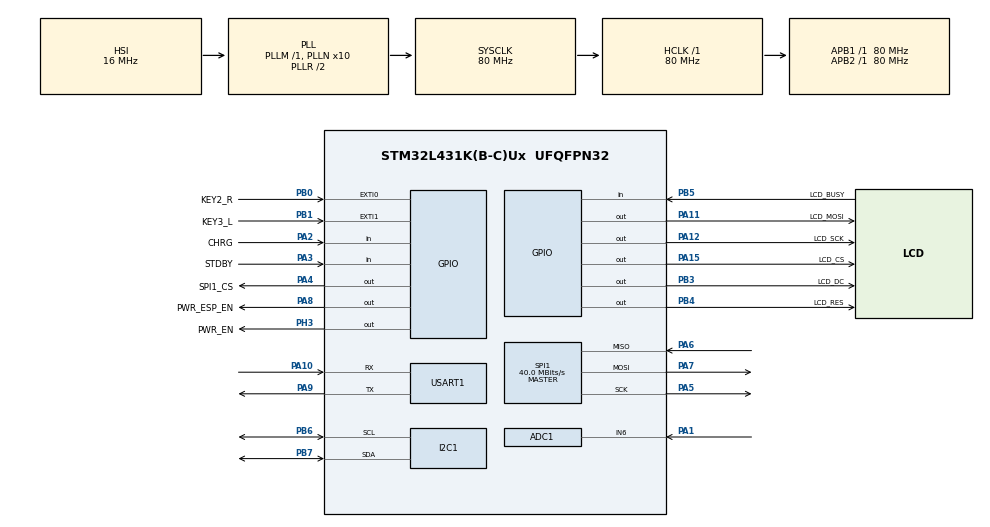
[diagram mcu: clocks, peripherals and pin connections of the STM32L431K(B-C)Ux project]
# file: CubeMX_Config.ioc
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ADC1.Channel-0\#ChannelRegularConversion=ADC_CHANNEL_6
ADC1.NbrOfConversionFlag=1
ADC1.OffsetNumber-0\#ChannelRegularConversion=ADC_OFFSET_NONE
ADC1.Rank-0\#ChannelRegularConversion=1
ADC1.SamplingTime-0\#ChannelRegularConversion=ADC_SAMPLETIME_2CYCLES_5
ADC1.master=1
I2C1.Timing=0x10909CEC
Mcu.Family=STM32L4
Mcu.Name=STM32L431K(B-C)Ux
Mcu.Package=UFQFPN32
NVIC.PriorityGroup=NVIC_PRIORITYGROUP_4
NVIC.RTC_WKUP_IRQn=true\:0\:0\:false\:false\:true\:true\:true\:true
PA0.Mode=SYS_WakeUp0
PA0.Signal=SYS_WKUP1
PA1.Signal=ADCx_IN6
PA10.Mode=Asynchronous
PA10.Signal=USART1_RX
PA11.GPIO_Label=LCD_MOSI
PA11.Signal=GPIO_Output
PA12.GPIO_Label=LCD_SCK
PA12.Signal=GPIO_Output
PA13\ (JTMS-SWDIO).Mode=Serial_Wire
PA13\ (JTMS-SWDIO).Signal=SYS_JTMS-SWDIO
PA14\ (JTCK-SWCLK).Mode=Serial_Wire
PA14\ (JTCK-SWCLK).Signal=SYS_JTCK-SWCLK
PA15\ (JTDI).GPIO_Label=LCD_CS
PA15\ (JTDI).Signal=GPIO_Output
PA2.GPIO_Label=CHRG
PA2.Signal=GPIO_Input
PA3.GPIO_Label=STDBY
PA3.Signal=GPIO_Input
PA4.GPIO_Label=SPI1_CS
PA4.Signal=GPIO_Output
PA5.Mode=Full_Duplex_Master
PA5.Signal=SPI1_SCK
PA6.Mode=Full_Duplex_Master
PA6.Signal=SPI1_MISO
PA7.Mode=Full_Duplex_Master
PA7.Signal=SPI1_MOSI
PA8.GPIO_Label=PWR_ESP_EN
PA8.Signal=GPIO_Output
PA9.Mode=Asynchronous
PA9.Signal=USART1_TX
PB0.GPIO_Label=KEY2_R
PB0.Signal=GPXTI0
PB1.GPIO_Label=KEY3_L
PB1.Signal=GPXTI1
PB3\ (JTDO-TRACESWO).GPIO_Label=LCD_DC
PB3\ (JTDO-TRACESWO).Signal=GPIO_Output
PB4\ (NJTRST).GPIO_Label=LCD_RES
PB4\ (NJTRST).Signal=GPIO_Output
PB5.GPIO_Label=LCD_BUSY
PB5.Signal=GPIO_Input
PB6.Mode=I2C
PB6.Signal=I2C1_SCL
PB7.Mode=I2C
PB7.Signal=I2C1_SDA
PC14-OSC32_IN\ (PC14).Mode=LSE-External-Oscillator
PC14-OSC32_IN\ (PC14).Signal=RCC_OSC32_IN
PC15-OSC32_OUT\ (PC15).Mode=LSE-External-Oscillator
PC15-OSC32_OUT\ (PC15).Signal=RCC_OSC32_OUT
PH3-BOOT0.GPIO_Label=PWR_EN
PH3-BOOT0.Signal=GPIO_Output
ProjectManager.HeapSize=0x1000
ProjectManager.StackSize=0x1000
ProjectManager.TargetToolchain=MDK-ARM V5.32
RCC.ADCFreq_Value=64000000
RCC.AHBFreq_Value=80000000
RCC.APB1Freq_Value=80000000
RCC.APB1TimFreq_Value=80000000
RCC.APB2Freq_Value=80000000
RCC.APB2TimFreq_Value=80000000
RCC.CortexFreq_Value=80000000
RCC.HCLKFreq_Value=80000000
RCC.HSE_VALUE=8000000
RCC.HSI48_VALUE=48000000
RCC.HSI_VALUE=16000000
RCC.MSI_VALUE=4000000
RCC.PLLN=10
RCC.PLLSourceVirtual=RCC_PLLSOURCE_HSI
RCC.RTCClockSelection=RCC_RTCCLKSOURCE_LSE
RCC.SYSCLKFreq_VALUE=80000000
RCC.SYSCLKSource=RCC_SYSCLKSOURCE_PLLCLK
RCC.VCOOutputFreq_Value=160000000
RTC.WakeUpClock=RTC_WAKEUPCLOCK_RTCCLK_DIV16
RTC.WakeUpCounter=0
SH.ADCx_IN6.0=ADC1_IN6,IN6-Single-Ended
SPI1.CalculateBaudRate=40.0 MBits/s
SPI1.Direction=SPI_DIRECTION_2LINES
SPI1.Mode=SPI_MODE_MASTER
SPI1.VirtualType=VM_MASTER
TIM16.AutoReloadPreload=TIM_AUTORELOAD_PRELOAD_ENABLE
TIM16.Period=999
TIM16.Prescaler=79
USART1.VirtualMode-Asynchronous=VM_ASYNC
VP_RTC_VS_RTC_Activate.Mode=RTC_Enabled
VP_RTC_VS_RTC_Calendar.Mode=RTC_Calendar
VP_RTC_VS_RTC_WakeUp_intern.Mode=WakeUp
VP_TIM16_VS_ClockSourceINT.Mode=Enable_Timer
board=custom

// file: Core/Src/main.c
/* USER CODE BEGIN Header */
/**
  ******************************************************************************
  * @file           : main.c
  * @brief          : Main program body
  ******************************************************************************
  * @attention
  *
  * Copyright (c) 2022 STMicroelectronics.
  * All rights reserved.
  *
  * This software is licensed under terms that can be found in the LICENSE file
  * in the root directory of this software component.
  * If no LICENSE file comes with this software, it is provided AS-IS.
  *
  ******************************************************************************
  */
/* USER CODE END Header */
#include "main.h"
#include "adc.h"
#include "i2c.h"
#include "rtc.h"
#include "spi.h"
#include "tim.h"
#include "usart.h"
#include "gpio.h"

/* USER CODE BEGIN Includes */
#include "mainWindow.h"
#include "SEGGER_RTT_Conf.h"
#include "SEGGER_RTT.h"
#include "sht20.h"
#include "stdio.h"
/* USER CODE END Includes */

/* USER CODE BEGIN PTD */
RTC_DateTypeDef sdatestructure;
RTC_TimeTypeDef stimestructure;
/* USER CODE END PTD */

void SystemClock_Config(void);

/* USER CODE BEGIN 0 */
void StandbyRTCMode_Measure(void)
{

  if(HAL_RTCEx_DeactivateWakeUpTimer(&hrtc) != HAL_OK)
  {
    /* Initialization Error */
    Error_Handler();
  }

  /*## Clear all related wakeup flags ########################################*/
  /* Clear RTC Wake Up timer Flag */
  HAL_PWR_DisableWakeUpPin(PWR_WAKEUP_PIN1);
  __HAL_PWR_CLEAR_FLAG(PWR_FLAG_WU);
  __HAL_RTC_WAKEUPTIMER_CLEAR_FLAG(&hrtc, RTC_FLAG_WUTF);

  /*## Setting the Wake up time ##############################################*/
  HAL_RTCEx_SetWakeUpTimer_IT(&hrtc, 0xA017, RTC_WAKEUPCLOCK_RTCCLK_DIV16);
  HAL_PWR_EnableWakeUpPin(PWR_WAKEUP_PIN1);
  /*## Enter the Standby mode ################################################*/
  /* Request to enter STANDBY mode  */
  HAL_PWR_EnterSTANDBYMode();
}
/* USER CODE END 0 */

int main(void)
{
  /* USER CODE BEGIN 1 */
	char str[50];
  /* USER CODE END 1 */

  /* MCU Configuration--------------------------------------------------------*/

  /* Reset of all peripherals, Initializes the Flash interface and the Systick. */
  HAL_Init();

  /* Configure the system clock */
  SystemClock_Config();

  /* Initialize all configured peripherals */
  MX_GPIO_Init();
  MX_RTC_Init();
  MX_USART1_UART_Init();
  MX_ADC1_Init();
  MX_I2C1_Init();
  MX_SPI1_Init();
  MX_TIM16_Init();
  /* USER CODE BEGIN 2 */
	SEGGER_RTT_Init();
  HAL_GPIO_WritePin(PWR_EN_GPIO_Port,PWR_EN_Pin,GPIO_PIN_SET);
 // HAL_GPIO_WritePin(PWR_ESP_EN_GPIO_Port,PWR_ESP_EN_Pin,GPIO_PIN_SET);
  WinInit();
//  EPD_HW_Init();
//	int timeout = HAL_GetTick();
//	EPD_ALL_image(gImage_basemap_BW,gImage_basemap_RED);	//Refresh the picture in full screen
//	timeout=HAL_GetTick()-timeout;
//  //EPD_black_image(gImage_1_BW);
////  EPD_DeepSleep();
//	SEGGER_RTT_printf(0,"TIME=%d\n",timeout);

//  EPD_HW_Init();
//  // EPD_RED_image(gImage_1_RED);
//	timeout = HAL_GetTick();
//  EPD_DeepSleep();
//	timeout=HAL_GetTick()-timeout;
	HAL_RTC_GetTime(&hrtc, &stimestructure, RTC_FORMAT_BIN);
	HAL_RTC_GetDate(&hrtc, &sdatestructure, RTC_FORMAT_BIN);
	SEGGER_RTT_printf(0,"TIME=%d:%d\n:%d",stimestructure.Hours,stimestructure.Minutes,stimestructure.Seconds);
	SEGGER_RTT_printf(0,"TIME=%d\n",HAL_GetTick());
//  HAL_GPIO_WritePin(PWR_EN_GPIO_Port,PWR_EN_Pin,GPIO_PIN_RESET);

////////////////////////////////////////////////////////////////////////
		//Clear screen

		//  EPD_HW_Init(); //Electronic paper initialization
		//  EPD_WhiteScreen_White();  //Show all white
		//  EPD_DeepSleep();  //Enter deep sleep
  /* USER CODE END 2 */

  /* Infinite loop */
  /* USER CODE BEGIN WHILE */
  while (1)
  {

    SHT20_GetValue();
    sprintf(str,"T=%.2f,H=%.2f\n",sht20_info.tempreture,sht20_info.humidity);
    SEGGER_RTT_printf(0,str);
    HAL_Delay(3000);
    StandbyRTCMode_Measure();
    // GUI_SendUserMsg( hWin_main, DormancyVal, 0);
    // GUI_Exec();	//GUI执行函数
    /* USER CODE END WHILE */

  }
}

void SystemClock_Config(void)
{
  RCC_OscInitTypeDef RCC_OscInitStruct = {0};
  RCC_ClkInitTypeDef RCC_ClkInitStruct = {0};

  /** Configure the main internal regulator output voltage
  */
  if (HAL_PWREx_ControlVoltageScaling(PWR_REGULATOR_VOLTAGE_SCALE1) != HAL_OK)
  {
    Error_Handler();
  }

  /** Configure LSE Drive Capability
  */
  HAL_PWR_EnableBkUpAccess();
  __HAL_RCC_LSEDRIVE_CONFIG(RCC_LSEDRIVE_LOW);

  /** Initializes the RCC Oscillators according to the specified parameters
  * in the RCC_OscInitTypeDef structure.
  */
  RCC_OscInitStruct.OscillatorType = RCC_OSCILLATORTYPE_HSI|RCC_OSCILLATORTYPE_LSE;
  RCC_OscInitStruct.LSEState = RCC_LSE_ON;
  RCC_OscInitStruct.HSIState = RCC_HSI_ON;
  RCC_OscInitStruct.HSICalibrationValue = RCC_HSICALIBRATION_DEFAULT;
  RCC_OscInitStruct.PLL.PLLState = RCC_PLL_ON;
  RCC_OscInitStruct.PLL.PLLSource = RCC_PLLSOURCE_HSI;
  RCC_OscInitStruct.PLL.PLLM = 1;
  RCC_OscInitStruct.PLL.PLLN = 10;
  RCC_OscInitStruct.PLL.PLLP = RCC_PLLP_DIV7;
  RCC_OscInitStruct.PLL.PLLQ = RCC_PLLQ_DIV2;
  RCC_OscInitStruct.PLL.PLLR = RCC_PLLR_DIV2;
  if (HAL_RCC_OscConfig(&RCC_OscInitStruct) != HAL_OK)
  {
    Error_Handler();
  }

  /** Initializes the CPU, AHB and APB buses clocks
  */
  RCC_ClkInitStruct.ClockType = RCC_CLOCKTYPE_HCLK|RCC_CLOCKTYPE_SYSCLK
                              |RCC_CLOCKTYPE_PCLK1|RCC_CLOCKTYPE_PCLK2;
  RCC_ClkInitStruct.SYSCLKSource = RCC_SYSCLKSOURCE_PLLCLK;
  RCC_ClkInitStruct.AHBCLKDivider = RCC_SYSCLK_DIV1;
  RCC_ClkInitStruct.APB1CLKDivider = RCC_HCLK_DIV1;
  RCC_ClkInitStruct.APB2CLKDivider = RCC_HCLK_DIV1;

  if (HAL_RCC_ClockConfig(&RCC_ClkInitStruct, FLASH_LATENCY_4) != HAL_OK)
  {
    Error_Handler();
  }
}

void Error_Handler(void)
{
  /* USER CODE BEGIN Error_Handler_Debug */
  /* User can add his own implementation to report the HAL error return state */
  __disable_irq();
	SEGGER_RTT_printf(0,"ERR TIME=%d\n",HAL_GetTick());
  while (1)
  {
  }
  /* USER CODE END Error_Handler_Debug */
}
